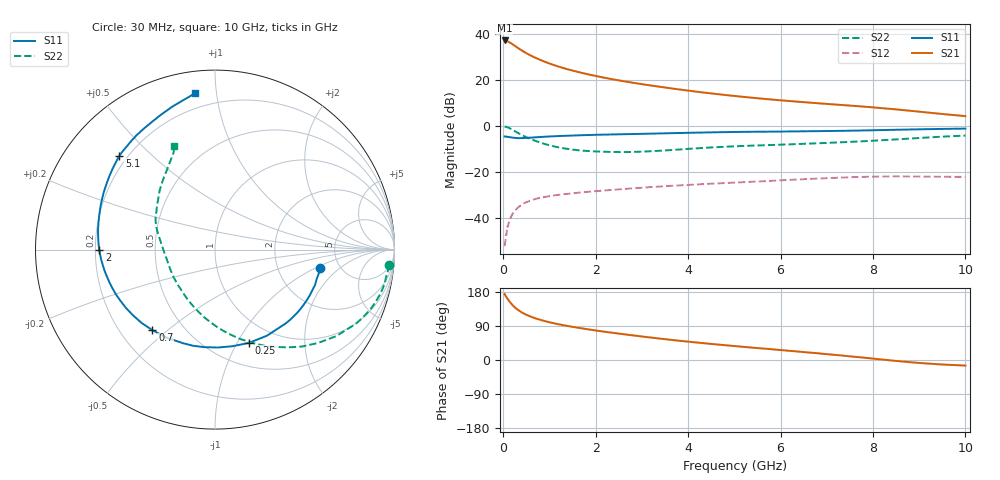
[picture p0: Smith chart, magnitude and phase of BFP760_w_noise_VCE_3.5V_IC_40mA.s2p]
! Infineon Technologies  Discrete & RF Semiconductors
! BFP760
! VCE =  3.5 V,  IC =  40 mA
! Common Emitter S-Parameters:  Nov 2012
# GHz  S  MA  R  50
!  f  S11  S21  S12  S22
! GHz  MAG  ANG  MAG  ANG  MAG  ANG  MAG  ANG
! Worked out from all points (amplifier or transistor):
!   99 points, 30 MHz to 10 GHz, reference 50 ohm
!   highest |S21| = 37.4 dB at 30 MHz (marker M1)
!   |S21| within 3 dB of that: start of sweep to 298.1 MHz
!   unconditionally stable (mu >= 1): 3.932 GHz to end of sweep
!   at 350 MHz: K = 0.33, MSG = 34.3 dB, |S12| = -35.0 dB
!   at 3.5 GHz: K = 0.96, MSG = 21.5 dB, |S12| = -26.2 dB
!   at 10 GHz: K = 1.05, MAG = 11.8 dB, |S12| = -22.1 dB
!   lowest NFmin = 0.92 dB at 900 MHz
!   S11 on the Smith chart (normalised r, x): 30 MHz: 3.56, -1.10; 250 MHz: 0.75, -1.12; 700 MHz: 0.34, -0.44; 2 GHz: 0.22, -0.00; 5.1 GHz: 0.17, +0.40; 10 GHz: 0.11, +0.88
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0.03  0.5936 -9.7  73.77 174.0  0.0024 79.8  0.9714 -5.1
0.07  0.5878 -22.5  72.49 165.8  0.0042 86.6  0.9588 -13.2
0.09  0.5838 -28.9  71 162.1  0.0066 77.7  0.9439 -17.3
0.13  0.5743 -40.7  67.59 155.3  0.0085 72.8  0.9067 -24.6
0.15  0.5694 -46.3  65.81 152.1  0.0096 69.5  0.8859 -27.9
0.2  0.5602 -58.9  60.98 145.1  0.0121 67.3  0.8299 -35.5
0.25  0.5529 -70.0  56.42 139.0  0.014 63.6  0.7753 -42.1
0.35  0.5458 -88.5  48.13 129.6  0.0177 56.5  0.6811 -53.1
0.45  0.5495 -102.7  41.68 122.4  0.0206 52.6  0.6055 -62.4
0.6  0.5605 -119.3  34.45 114.2  0.0238 47.6  0.5184 -74.1
0.7  0.5685 -127.8  30.8 109.8  0.0257 45.1  0.4739 -81.0
0.9  0.5855 -141.3  25.3 102.6  0.0284 41.7  0.4061 -93.5
1.1  0.5992 -151.6  21.37 96.8  0.0307 39.6  0.36 -104.5
1.4  0.6166 -163.2  17.27 89.7  0.0333 37.6  0.3172 -118.7
1.7  0.6314 -172.3  14.47 83.5  0.0358 36.7  0.2913 -131.0
2  0.6452 -179.8  12.42 78.0  0.0381 36.0  0.2796 -142.3
2.6  0.6644 168.1  9.54 68.1  0.0422 35.3  0.2714 -160.9
3.4  0.6917 154.8  7.166 56.3  0.048 33.9  0.2903 178.9
5.1  0.7458 135.6  4.436 35.8  0.0591 30.4  0.3654 154.8
6.7  0.7739 124.0  3.209 18.9  0.0709 25.7  0.4178 139.8
8.5  0.8313 106.6  2.313 -2.5  0.08 14.6  0.5116 122.1
10  0.8809 97.1  1.65 -14.7  0.0781 9.6  0.6208 111.5
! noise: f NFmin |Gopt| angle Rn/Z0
0.9  0.92  0.23  -166  0.11
1.8  0.94  0.24  -157  0.08
2.4  0.99  0.25  -149  0.08
3.5  1.15  0.25  -138  0.18
5.5  1.38  0.32  -79  0.5
8  1.61  0.47  -57  0.52
